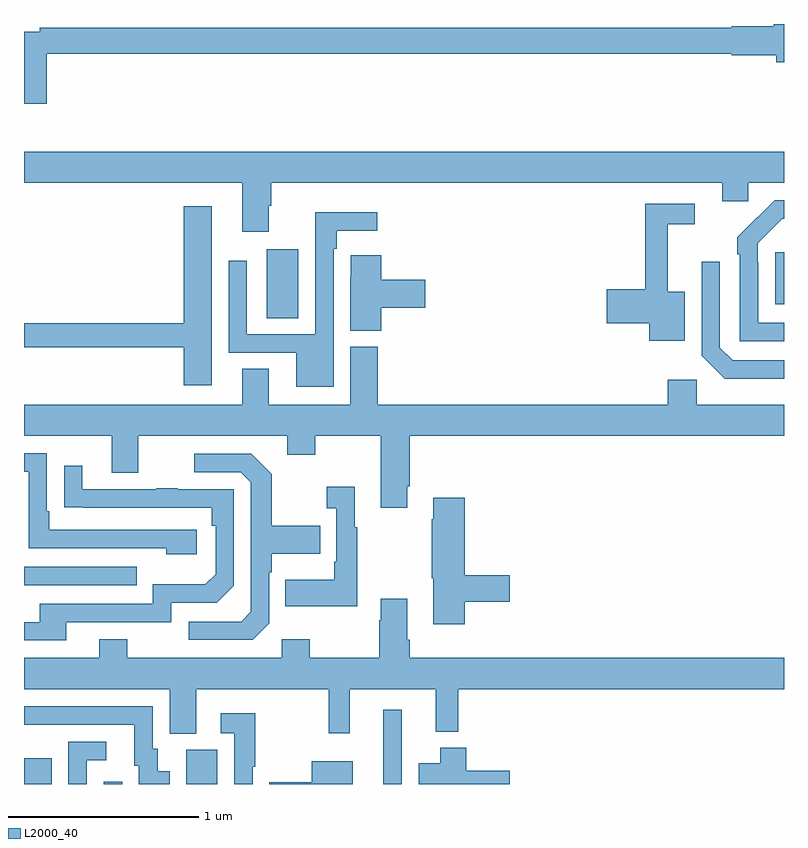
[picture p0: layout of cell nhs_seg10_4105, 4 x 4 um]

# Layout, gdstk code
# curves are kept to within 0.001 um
import gdstk
lib = gdstk.Library(unit=1e-6, precision=1e-09)
def R(c, l, rs):  # rectangles x0, y0, x1, y1
    for r in rs: c.add(gdstk.rectangle(r[:2], r[2:], *l))
def P(c, l, *ps):  # polygons
    for p in ps: c.add(gdstk.Polygon(p, *l))
L2000_40 = (2000, 40)

nhs_seg10_4105 = lib.new_cell('nhs_seg10_4105')
R(nhs_seg10_4105, L2000_40, [(339,1282.5,339.145,1282.636), (339.42,1282.5,339.516,1282.513), (339.854,1282.5,340.018,1282.68), (340.892,1282.5,340.989,1282.891), (339,1283.547,339.593,1283.643), (340.277,1284.952,340.444,1285.315), (342.953,1285.025,343,1285.3)])
P(nhs_seg10_4105, L2000_40, [(339.119,1286.344),(342.726,1286.344),(342.726,1286.336),(342.959,1286.336),(342.959,1286.3),(343,1286.3),(343,1286.5),(342.947,1286.5),(342.947,1286.488),(342.726,1286.488),(342.726,1286.48),(339.082,1286.48),(339.082,1286.46),(339,1286.46),(339,1286.079),(339.119,1286.079)],
  [(340.288,1285.544),(340.301,1285.544),(340.301,1285.664),(342.674,1285.664),(342.674,1285.566),(342.813,1285.566),(342.813,1285.664),(343,1285.664),(343,1285.828),(339,1285.828),(339,1285.664),(340.148,1285.664),(340.148,1285.407),(340.288,1285.407)],
  [(343,1284.927),(342.864,1284.927),(342.864,1285.247),(342.861,1285.247),(342.861,1285.347),(342.99,1285.476),(343,1285.476),(343,1285.572),(342.95,1285.572),(342.753,1285.377),(342.753,1285.289),(342.768,1285.289),(342.768,1284.831),(343,1284.831)],
  [(342.478,1285.09),(342.389,1285.09),(342.389,1285.446),(342.529,1285.446),(342.529,1285.554),(342.271,1285.554),(342.271,1285.103),(342.066,1285.103),(342.066,1284.925),(342.29,1284.925),(342.29,1284.833),(342.478,1284.833)],
  [(339.988,1285.54),(339.842,1285.54),(339.842,1284.926),(339,1284.926),(339,1284.798),(339.842,1284.798),(339.842,1284.6),(339.988,1284.6)],
  [(340.629,1285.316),(340.645,1285.316),(340.645,1285.412),(340.858,1285.412),(340.858,1285.51),(340.533,1285.51),(340.533,1284.867),(340.173,1284.867),(340.173,1285.255),(340.077,1285.255),(340.077,1284.771),(340.433,1284.771),(340.433,1284.59),(340.629,1284.59)],
  [(340.88,1285.007),(341.113,1285.007),(341.113,1285.154),(340.88,1285.154),(340.88,1285.282),(340.719,1285.282),(340.719,1285.169),(340.718,1285.169),(340.718,1284.886),(340.88,1284.886)],
  [(343,1284.729),(342.729,1284.729),(342.663,1284.795),(342.663,1285.249),(342.567,1285.249),(342.567,1284.753),(342.688,1284.632),(343,1284.632)],
  [(341.017,1284.067),(341.03,1284.067),(341.03,1284.332),(343,1284.332),(343,1284.496),(342.54,1284.496),(342.54,1284.628),(342.389,1284.628),(342.389,1284.496),(340.862,1284.496),(340.862,1284.801),(340.718,1284.801),(340.718,1284.496),(340.288,1284.496),(340.288,1284.686),(340.148,1284.686),(340.148,1284.496),(339,1284.496),(339,1284.332),(339.461,1284.332),(339.461,1284.138),(339.601,1284.138),(339.601,1284.332),(340.385,1284.332),(340.385,1284.233),(340.533,1284.233),(340.533,1284.332),(340.877,1284.332),(340.877,1283.955),(341.017,1283.955)],
  [(339.91,1283.838),(339.133,1283.838),(339.133,1283.935),(339.12,1283.935),(339.12,1284.24),(339,1284.24),(339,1284.144),(339.024,1284.144),(339.024,1283.742),(339.749,1283.742),(339.749,1283.708),(339.91,1283.708)],
  [(340.29,1283.346),(340.29,1283.615),(340.303,1283.615),(340.303,1283.711),(340.559,1283.711),(340.559,1283.859),(340.303,1283.859),(340.303,1284.131),(340.197,1284.237),(339.897,1284.237),(339.897,1284.141),(340.14,1284.141),(340.194,1284.087),(340.194,1283.406),(340.143,1283.355),(339.867,1283.355),(339.867,1283.259),(340.203,1283.259)],
  [(339.223,1283.352),(339.774,1283.352),(339.774,1283.454),(340.014,1283.454),(340.104,1283.544),(340.104,1284.051),(339.809,1284.051),(339.809,1284.056),(339.697,1284.056),(339.697,1284.051),(339.307,1284.051),(339.307,1284.175),(339.211,1284.175),(339.211,1283.956),(339.988,1283.955),(339.988,1283.858),(340.008,1283.858),(340.008,1283.604),(339.955,1283.551),(339.678,1283.551),(339.678,1283.448),(339.083,1283.448),(339.083,1283.352),(339,1283.352),(339,1283.256),(339.223,1283.256)],
  [(340.753,1283.851),(340.741,1283.851),(340.741,1284.064),(340.593,1284.064),(340.593,1283.951),(340.644,1283.951),(340.644,1283.671),(340.632,1283.671),(340.632,1283.575),(340.375,1283.575),(340.375,1283.435),(340.753,1283.435)],
  [(341.321,1283.458),(341.557,1283.458),(341.557,1283.6),(341.321,1283.6),(341.321,1284.007),(341.153,1284.007),(341.153,1283.894),(341.146,1283.894),(341.146,1283.583),(341.153,1283.583),(341.153,1283.34),(341.321,1283.34)],
  [(339.907,1283),(340.605,1283),(340.605,1282.767),(340.715,1282.767),(340.715,1283),(341.168,1283),(341.168,1282.775),(341.285,1282.775),(341.285,1283),(343,1283),(343,1283.164),(341.03,1283.164),(341.03,1283.26),(341.017,1283.26),(341.017,1283.476),(340.877,1283.476),(340.877,1283.363),(340.87,1283.363),(340.87,1283.164),(340.503,1283.164),(340.503,1283.263),(340.356,1283.263),(340.356,1283.164),(339.543,1283.164),(339.543,1283.263),(339.395,1283.263),(339.395,1283.164),(339,1283.164),(339,1283),(339.767,1283),(339.767,1282.765),(339.907,1282.765)],
  [(339.766,1282.567),(339.703,1282.567),(339.703,1282.686),(339.678,1282.686),(339.678,1282.908),(339,1282.908),(339,1282.812),(339.581,1282.812),(339.581,1282.596),(339.605,1282.596),(339.605,1282.5),(339.766,1282.5)],
  [(340.203,1282.591),(340.216,1282.591),(340.216,1282.873),(340.035,1282.873),(340.035,1282.767),(340.107,1282.767),(340.107,1282.5),(340.203,1282.5)],
  [(339.33,1282.626),(339.433,1282.626),(339.433,1282.722),(339.234,1282.722),(339.234,1282.5),(339.33,1282.5)],
  [(341.557,1282.569),(341.327,1282.569),(341.327,1282.69),(341.192,1282.69),(341.192,1282.609),(341.078,1282.609),(341.078,1282.5),(341.557,1282.5)],
  [(340.729,1282.621),(340.514,1282.621),(340.514,1282.508),(340.29,1282.508),(340.29,1282.5),(340.729,1282.5)])

lib.write_gds('nhs_seg10_4105.gds')
